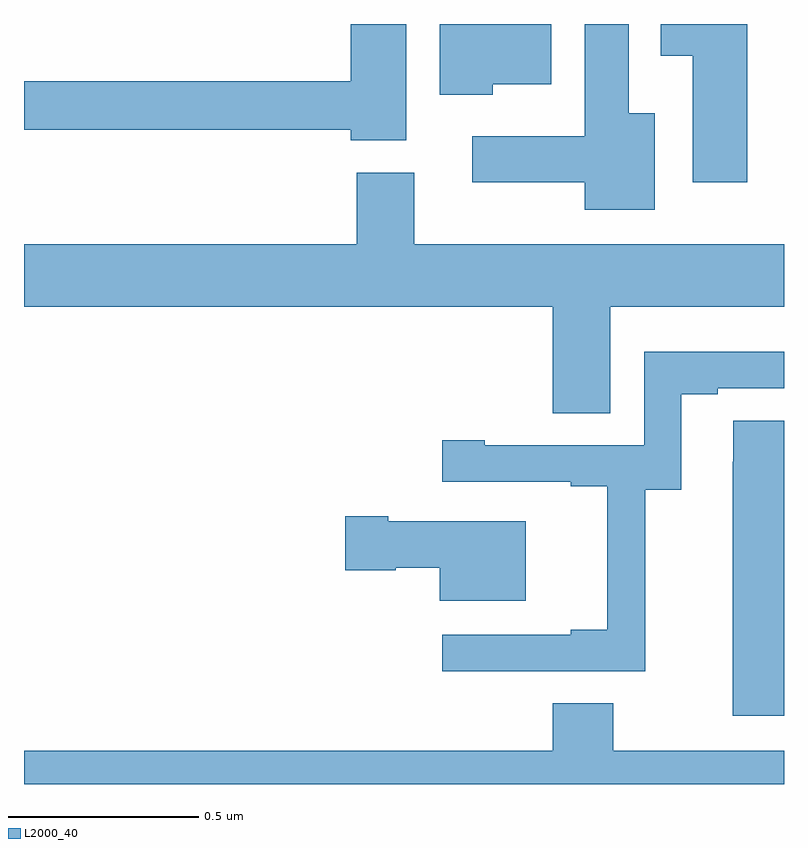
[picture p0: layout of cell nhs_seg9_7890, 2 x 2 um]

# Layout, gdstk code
import gdstk
lib = gdstk.Library(unit=1e-6, precision=1e-09)
def P(c, l, *ps):  # polygons
    for p in ps: c.add(gdstk.Polygon(p, *l))
L2000_40 = (2000, 40)

nhs_seg9_7890 = lib.new_cell('nhs_seg9_7890')
P(nhs_seg9_7890, L2000_40, [(211.903,1194.5),(211.676,1194.5),(211.676,1194.416),(211.76,1194.416),(211.76,1194.084),(211.903,1194.084)],
  [(211.006,1194.5),(210.86,1194.5),(210.86,1194.35),(210,1194.35),(210,1194.222),(210.86,1194.222),(210.86,1194.194),(211.006,1194.194)],
  [(211.233,1194.341),(211.387,1194.341),(211.387,1194.5),(211.094,1194.5),(211.094,1194.314),(211.233,1194.314)],
  [(211.66,1194.265),(211.591,1194.265),(211.591,1194.5),(211.475,1194.5),(211.475,1194.205),(211.179,1194.205),(211.179,1194.083),(211.475,1194.083),(211.475,1194.011),(211.66,1194.011)],
  [(211.543,1193.756),(212,1193.756),(212,1193.92),(211.027,1193.92),(211.027,1194.109),(210.875,1194.109),(210.875,1193.92),(210,1193.92),(210,1193.756),(211.391,1193.756),(211.391,1193.476),(211.543,1193.476)],
  [(211.635,1193.275),(211.729,1193.275),(211.729,1193.526),(211.825,1193.526),(211.825,1193.541),(212,1193.541),(212,1193.637),(211.632,1193.637),(211.632,1193.391),(211.213,1193.391),(211.213,1193.404),(211.101,1193.404),(211.101,1193.295),(211.439,1193.295),(211.439,1193.283),(211.535,1193.283),(211.535,1192.906),(211.439,1192.906),(211.439,1192.893),(211.101,1192.893),(211.101,1192.797),(211.635,1192.797)],
  [(212,1193.456),(211.866,1193.456),(211.866,1193.348),(211.865,1193.348),(211.865,1192.68),(212,1192.68)],
  [(211.321,1193.191),(210.958,1193.191),(210.958,1193.204),(210.846,1193.204),(210.846,1193.062),(210.978,1193.062),(210.978,1193.069),(211.094,1193.069),(211.094,1192.982),(211.321,1192.982)],
  [(212,1192.588),(211.551,1192.588),(211.551,1192.712),(211.391,1192.712),(211.391,1192.588),(210,1192.588),(210,1192.5),(212,1192.5)])

lib.write_gds('nhs_seg9_7890.gds')
